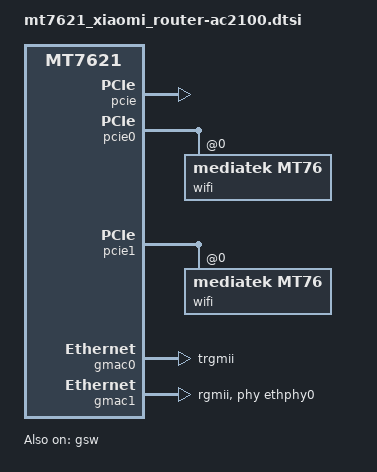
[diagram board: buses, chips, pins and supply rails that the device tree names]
// SPDX-License-Identifier: GPL-2.0-or-later OR MIT

#include "mt7621_xiaomi_nand_128m.dtsi"

/* override EEPROM size to 0x4da8 for MT7615 */
&eeprom_factory_8000 {
	reg = <0x8000 0x4da8>;
};

&pcie {
	status = "okay";
};

&pcie0 {
	wifi@0,0 {
		compatible = "mediatek,mt76";
		reg = <0x0000 0 0 0 0>;
		nvmem-cells = <&eeprom_factory_8000>;
		nvmem-cell-names = "eeprom";
		ieee80211-freq-limit = <5000000 6000000>;
	};
};

&pcie1 {
	wifi@0,0 {
		compatible = "mediatek,mt76";
		reg = <0x0000 0 0 0 0>;
		nvmem-cells = <&eeprom_factory_0>;
		nvmem-cell-names = "eeprom";
		ieee80211-freq-limit = <2400000 2500000>;
	};
};

&gmac0 {
	nvmem-cells = <&macaddr_factory_e000>;
	nvmem-cell-names = "mac-address";
	phy-mode = "trgmii";
};

&gmac1 {
	status = "okay";
	phy-handle = <&ethphy0>;
	phy-mode = "rgmii";

	nvmem-cells = <&macaddr_factory_e006>;
	nvmem-cell-names = "mac-address";
};

&ethphy0 {
	/delete-property/ interrupts;
};

&switch0 {
	/* must delete compatible property */
	/delete-property/ compatible;
};

&gsw {
	compatible = "mediatek,mt753x";
	status = "okay";

	mediatek,mdio = <&mdio>;
	mediatek,portmap = "wllll";
	mt7530,direct-phy-access;
	resets = <&sysc MT7621_RST_MCM>;
	reset-names = "mcm";
	mediatek,mcm;

	#address-cells = <1>;
	#size-cells = <0>;

	port5: port@5 {
		compatible = "mediatek,mt753x-port";
		reg = <5>;
		phy-mode = "rgmii";
		phy-address = <0x0>;
	};

	port6: port@6 {
		compatible = "mediatek,mt753x-port";
		reg = <6>;
		phy-mode = "trgmii";
		fixed-link {
			speed = <1000>;
			full-duplex;
		};
	};
};

&state_default {
	gpio {
		groups = "uart2", "uart3", "wdt";
		function = "gpio";
	};
};
